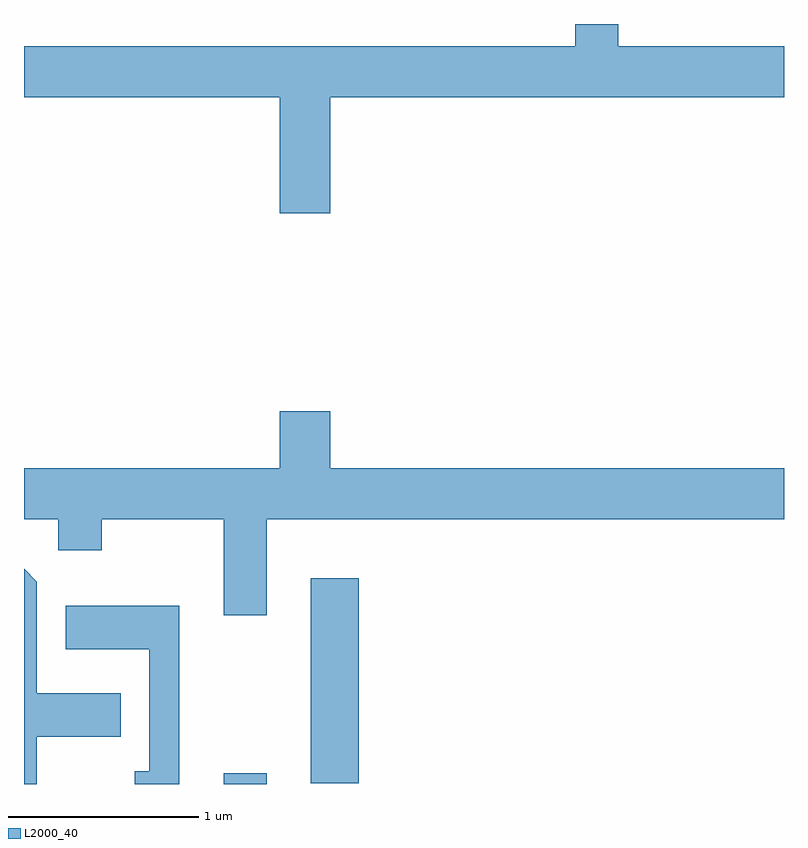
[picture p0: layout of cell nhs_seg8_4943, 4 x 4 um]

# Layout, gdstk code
import gdstk
lib = gdstk.Library(unit=1e-6, precision=1e-09)
def R(c, l, rs):  # rectangles x0, y0, x1, y1
    for r in rs: c.add(gdstk.rectangle(r[:2], r[2:], *l))
def P(c, l, *ps):  # polygons
    for p in ps: c.add(gdstk.Polygon(p, *l))
L2000_40 = (2000, 40)

nhs_seg8_4943 = lib.new_cell('nhs_seg8_4943')
R(nhs_seg8_4943, L2000_40, [(334.661,1848.342,334.889,1848.399), (335.121,1848.346,335.374,1849.424)])
P(nhs_seg8_4943, L2000_40, [(335.224,1851.956),(337.611,1851.956),(337.611,1852.224),(336.739,1852.224),(336.739,1852.342),(336.511,1852.342),(336.511,1852.224),(333.611,1852.224),(333.611,1851.956),(334.956,1851.956),(334.956,1851.346),(335.224,1851.346)],
  [(334.889,1849.736),(337.611,1849.736),(337.611,1850.004),(335.224,1850.004),(335.224,1850.304),(334.956,1850.304),(334.956,1850.004),(333.611,1850.004),(333.611,1849.736),(333.791,1849.736),(333.791,1849.571),(334.019,1849.571),(334.019,1849.736),(334.661,1849.736),(334.661,1849.231),(334.889,1849.231)],
  [(333.679,1848.591),(334.119,1848.591),(334.119,1848.819),(333.679,1848.819),(333.679,1849.407),(333.611,1849.475),(333.611,1848.342),(333.679,1848.342)],
  [(334.429,1849.279),(333.831,1849.279),(333.831,1849.051),(334.271,1849.051),(334.271,1848.409),(334.193,1848.409),(334.193,1848.342),(334.429,1848.342)])

lib.write_gds('nhs_seg8_4943.gds')
